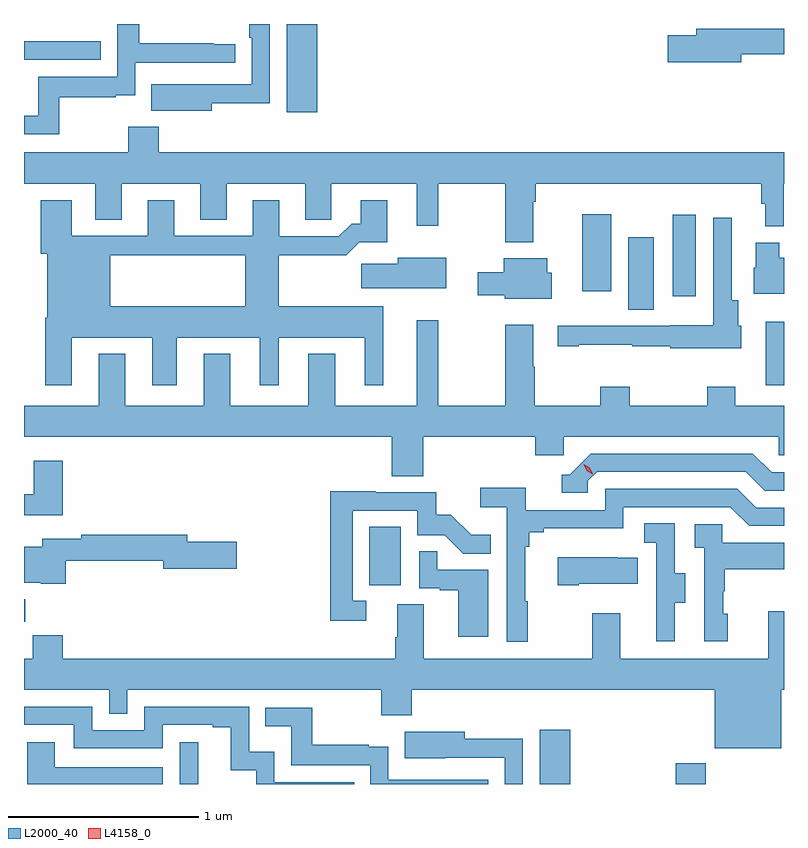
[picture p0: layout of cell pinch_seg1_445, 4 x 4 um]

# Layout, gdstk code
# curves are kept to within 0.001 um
import gdstk
lib = gdstk.Library(unit=1e-6, precision=1e-09)
def R(c, l, rs):  # rectangles x0, y0, x1, y1
    for r in rs: c.add(gdstk.rectangle(r[:2], r[2:], *l))
def P(c, l, *ps):  # polygons
    for p in ps: c.add(gdstk.Polygon(p, *l))
L2000_40 = (2000, 40)
L4158_0 = (4158, 0)

pinch_seg1_445 = lib.new_cell('pinch_seg1_445')
R(pinch_seg1_445, L2000_40, [(997.932,512.608,998.029,512.827), (999.827,512.608,999.988,512.893), (1000.541,512.608,1000.701,512.716), (997.112,513.462,997.118,513.58), (998.93,513.654,999.094,513.961), (1001.016,514.707,1001.112,515.041), (1000.292,515.104,1000.426,515.485), (1000.526,515.175,1000.648,515.605), (1000.049,515.202,1000.204,515.608), (998.495,516.144,998.656,516.608), (997.112,516.42,997.517,516.516)])
P(pinch_seg1_445, L2000_40, [(998.101,516.19),(998.406,516.19),(998.406,516.608),(998.297,516.608),(998.297,516.536),(998.31,516.536),(998.31,516.291),(997.997,516.291),(997.997,516.292),(997.783,516.292),(997.783,516.152),(998.101,516.152)],
  [(997.297,516.222),(997.595,516.222),(997.595,516.233),(997.698,516.233),(997.698,516.405),(998.224,516.405),(998.224,516.501),(998.111,516.501),(998.111,516.506),(997.718,516.506),(997.718,516.608),(997.301,516.608),(997.301,516.606),(997.602,516.606),(997.602,516.33),(997.186,516.33),(997.186,516.124),(997.112,516.124),(997.112,516.027),(997.297,516.027)],
  [(1000.888,516.448),(1001.112,516.448),(1001.112,516.584),(1000.649,516.584),(1000.649,516.548),(1000.5,516.548),(1000.5,516.406),(1000.888,516.406)],
  [(999.793,515.672),(999.806,515.672),(999.806,515.768),(1000.993,515.768),(1000.993,515.661),(1001.012,515.661),(1001.012,515.543),(1001.111,515.543),(1001.111,515.768),(1001.112,515.768),(1001.112,515.932),(997.82,515.932),(997.82,516.067),(997.66,516.067),(997.66,515.932),(997.112,515.932),(997.112,515.768),(997.487,515.768),(997.487,515.578),(997.627,515.578),(997.627,515.768),(998.039,515.768),(998.039,515.578),(998.179,515.578),(998.179,515.768),(998.591,515.768),(998.591,515.578),(998.73,515.578),(998.73,515.768),(999.179,515.768),(999.179,515.547),(999.293,515.547),(999.293,515.768),(999.646,515.768),(999.646,515.459),(999.793,515.459)],
  [(997.223,515.062),(997.223,514.707),(997.363,514.707),(997.363,514.958),(997.787,514.958),(997.787,514.707),(997.915,514.707),(997.915,514.958),(998.354,514.958),(998.354,514.707),(998.452,514.707),(998.452,514.958),(998.906,514.958),(998.906,514.707),(999.004,514.707),(999.004,515.122),(998.454,515.122),(998.454,515.39),(998.807,515.39),(998.876,515.459),(999.025,515.459),(999.025,515.68),(998.885,515.68),(998.885,515.557),(998.836,515.557),(998.769,515.49),(998.455,515.49),(998.455,515.68),(998.315,515.68),(998.315,515.493),(997.903,515.493),(997.903,515.68),(997.763,515.68),(997.763,515.493),(997.363,515.493),(997.363,515.68),(997.199,515.68),(997.199,515.4),(997.235,515.4),(997.235,515.122),(997.567,515.122),(997.567,515.392),(998.276,515.392),(998.276,515.122),(997.235,515.122),(997.235,515.062)],
  [(1000.888,515.019),(1000.87,515.019),(1000.87,515.155),(1000.836,515.155),(1000.836,515.587),(1000.74,515.587),(1000.74,515.023),(1000.512,515.023),(1000.512,515.019),(1000.196,515.019),(1000.196,515.02),(999.921,515.02),(999.921,514.911),(1000.033,514.911),(1000.033,514.921),(1000.312,514.921),(1000.312,514.911),(1000.512,514.911),(1000.512,514.901),(1000.888,514.901)],
  [(1001.112,515.377),(1001.086,515.377),(1001.086,515.458),(1000.964,515.458),(1000.964,515.325),(1000.952,515.325),(1000.952,515.189),(1001.112,515.189)],
  [(999.334,515.377),(999.08,515.377),(999.08,515.345),(998.886,515.345),(998.886,515.216),(999.334,515.216)],
  [(999.889,515.298),(999.865,515.298),(999.865,515.374),(999.638,515.374),(999.638,515.302),(999.501,515.302),(999.501,515.18),(999.642,515.18),(999.642,515.162),(999.889,515.162)],
  [(999.803,514.338),(999.954,514.338),(999.954,514.436),(1001.085,514.436),(1001.085,514.338),(1001.112,514.338),(1001.112,514.6),(1000.855,514.6),(1000.855,514.699),(1000.708,514.699),(1000.708,514.6),(1000.299,514.6),(1000.299,514.699),(1000.144,514.699),(1000.144,514.6),(999.801,514.6),(999.801,514.805),(999.793,514.805),(999.793,515.026),(999.646,515.026),(999.646,514.6),(999.293,514.6),(999.293,515.05),(999.179,515.05),(999.179,514.6),(998.749,514.6),(998.749,514.873),(998.609,514.873),(998.609,514.6),(998.197,514.6),(998.197,514.873),(998.057,514.873),(998.057,514.6),(997.645,514.6),(997.645,514.873),(997.505,514.873),(997.505,514.6),(997.112,514.6),(997.112,514.436),(999.047,514.436),(999.047,514.228),(999.212,514.228),(999.212,514.436),(999.803,514.436)],
  [(1000.08,514.203),(1000.128,514.251),(1000.911,514.251),(1001.01,514.152),(1001.112,514.152),(1001.112,514.248),(1001.047,514.248),(1000.948,514.347),(1000.095,514.347),(999.984,514.236),(999.941,514.236),(999.941,514.14),(1000.08,514.14)],
  [(997.316,514.309),(997.163,514.309),(997.163,514.132),(997.112,514.132),(997.112,514.022),(997.316,514.022)],
  [(999.763,513.569),(999.751,513.569),(999.751,513.857),(999.77,513.857),(999.77,513.934),(999.847,513.934),(999.847,513.953),(1000.266,513.953),(1000.266,514.065),(1000.83,514.065),(1000.929,513.966),(1001.112,513.966),(1001.112,514.062),(1000.966,514.062),(1000.867,514.161),(1000.17,514.161),(1000.17,514.05),(999.752,514.05),(999.752,514.166),(999.513,514.166),(999.513,514.064),(999.654,514.064),(999.654,513.357),(999.763,513.357)],
  [(998.914,513.573),(998.841,513.573),(998.841,514.047),(999.183,514.047),(999.183,513.918),(999.327,513.918),(999.425,513.82),(999.569,513.82),(999.569,513.919),(999.465,513.919),(999.358,514.026),(999.282,514.026),(999.282,514.143),(998.963,514.143),(998.963,514.148),(998.725,514.148),(998.725,513.468),(998.914,513.468)],
  [(1000.537,513.562),(1000.591,513.562),(1000.591,513.717),(1000.536,513.717),(1000.536,513.98),(1000.377,513.98),(1000.377,513.877),(1000.44,513.877),(1000.44,513.573),(1000.439,513.573),(1000.439,513.36),(1000.537,513.36)],
  [(1000.816,513.504),(1000.791,513.504),(1000.791,513.623),(1000.801,513.623),(1000.801,513.737),(1001.112,513.737),(1001.112,513.877),(1000.788,513.877),(1000.788,513.975),(1000.641,513.975),(1000.641,513.851),(1000.692,513.851),(1000.692,513.36),(1000.816,513.36)],
  [(997.331,513.784),(997.844,513.784),(997.844,513.742),(998.233,513.742),(998.233,513.884),(997.972,513.884),(997.972,513.92),(997.414,513.92),(997.414,513.9),(997.208,513.9),(997.208,513.856),(997.112,513.856),(997.112,513.668),(997.2,513.668),(997.2,513.662),(997.331,513.662)],
  [(999.556,513.735),(999.287,513.735),(999.287,513.833),(999.192,513.833),(999.192,513.639),(999.299,513.639),(999.299,513.627),(999.398,513.627),(999.398,513.384),(999.556,513.384)],
  [(1000.033,513.662),(1000.343,513.662),(1000.343,513.799),(1000.235,513.799),(1000.235,513.802),(999.921,513.802),(999.921,513.655),(1000.033,513.655)],
  [(1001.098,513.104),(1001.112,513.104),(1001.112,513.517),(1001.03,513.517),(1001.03,513.268),(1000.249,513.268),(1000.249,513.508),(1000.102,513.508),(1000.102,513.268),(999.217,513.268),(999.217,513.554),(999.077,513.554),(999.077,513.38),(999.065,513.38),(999.065,513.268),(997.316,513.268),(997.316,513.392),(997.159,513.392),(997.159,513.268),(997.112,513.268),(997.112,513.104),(997.56,513.104),(997.56,512.977),(997.656,512.977),(997.656,513.104),(998.992,513.104),(998.992,512.969),(999.152,512.969),(999.152,513.104),(1000.748,513.104),(1000.748,512.795),(1001.098,512.795)],
  [(998.849,512.616),(998.43,512.616),(998.43,512.779),(998.298,512.779),(998.298,513.015),(997.746,513.015),(997.746,512.892),(997.47,512.892),(997.47,513.015),(997.112,513.015),(997.112,512.919),(997.374,512.919),(997.374,512.796),(997.842,512.796),(997.842,512.919),(998.105,512.919),(998.105,512.907),(998.201,512.907),(998.201,512.681),(998.334,512.681),(998.334,512.608),(998.849,512.608)],
  [(999.556,512.631),(999.03,512.631),(999.03,512.803),(998.927,512.803),(998.927,512.815),(998.629,512.815),(998.629,513.009),(998.383,513.009),(998.383,512.912),(998.518,512.912),(998.518,512.706),(998.934,512.706),(998.934,512.608),(999.556,512.608)],
  [(999.738,512.846),(999.433,512.846),(999.433,512.884),(999.115,512.884),(999.115,512.744),(999.329,512.744),(999.329,512.745),(999.642,512.745),(999.642,512.608),(999.738,512.608)],
  [(997.842,512.697),(997.273,512.697),(997.273,512.827),(997.129,512.827),(997.129,512.608),(997.842,512.608)])
P(pinch_seg1_445, L4158_0, [(1000.106,514.239),(1000.075,514.258),(1000.059,514.29),(1000.059,514.291),(1000.059,514.291),(1000.09,514.272),(1000.106,514.239),(1000.106,514.239)])

lib.write_gds('pinch_seg1_445.gds')
